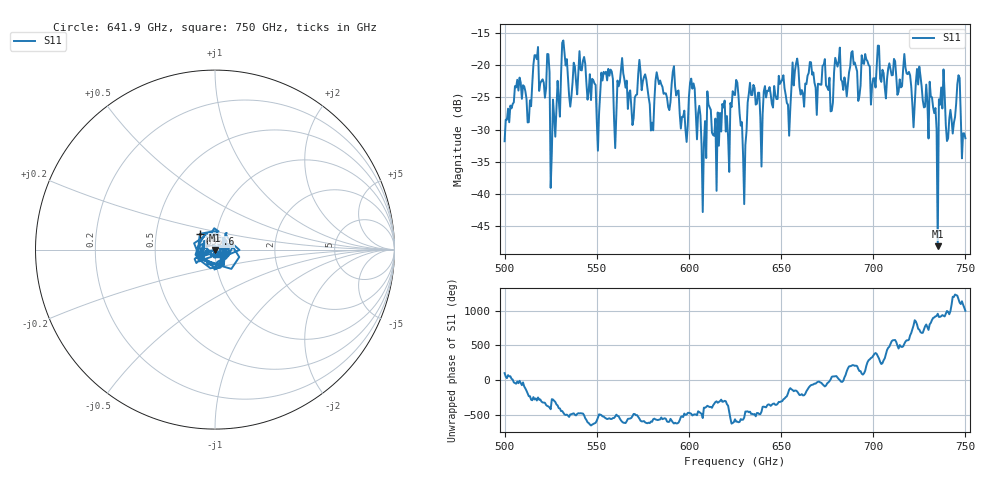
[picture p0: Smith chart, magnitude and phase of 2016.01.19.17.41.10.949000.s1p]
!Created with skrf (http://scikit-rf.org).
# GHz S RI R 50.0
!freq ReS11 ImS11
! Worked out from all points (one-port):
!   401 points, 500 GHz to 750 GHz, reference 50 ohm
!   lowest |S11| = -48.1 dB at 735 GHz (marker M1), VSWR 1.01, Z = 49.8 - j0.326 ohm
!   |S11| at or under -10 dB: start of sweep to end of sweep
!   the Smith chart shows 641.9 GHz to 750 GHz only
!   S11 on the Smith chart (normalised r, x): 641.9 GHz: 1.10, -0.07; 695.6 GHz: 0.83, +0.15; 750 GHz: 1.01, -0.05
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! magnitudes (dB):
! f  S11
! 500 GHz  -31.8
! 506.9 GHz  -22.3
! 513.1 GHz  -28.9
! 516.9 GHz  -18.5
! 523.1 GHz  -18.3
! 526.2 GHz  -25.4
! 531.2 GHz  -16.6
! 550.6 GHz  -33.3
! 562.5 GHz  -22.7
! 593.8 GHz  -24.1
! 598.1 GHz  -30.0
! 601.9 GHz  -23.7
! 608.1 GHz  -32.2
! 611.2 GHz  -26.6
! 621.2 GHz  -31.2
! 625 GHz  -24.7
! 630 GHz  -41.5
! 633.8 GHz  -24.7
! 641.9 GHz  -25.0
! 656.2 GHz  -19.6
! 687.5 GHz  -20.2
! 695.6 GHz  -18.3
! 718.8 GHz  -21.4
! 735 GHz  -48.1
! 736.9 GHz  -23.5
! 740.6 GHz  -31.4
! 746.2 GHz  -21.6
! 750 GHz  -31.3
